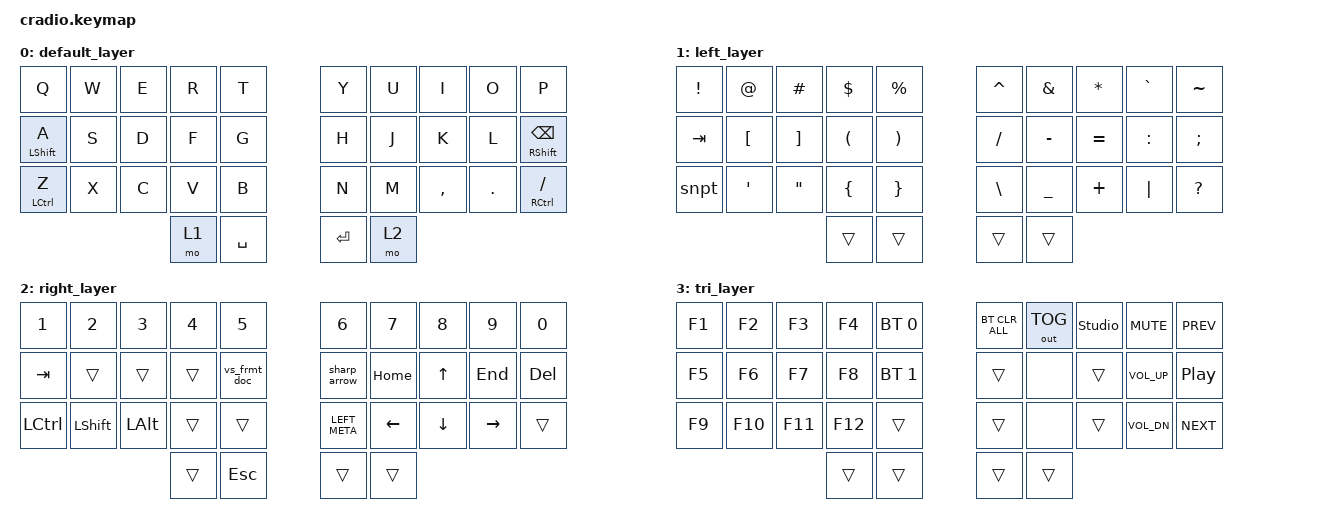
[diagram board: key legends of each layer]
// Copyright (c) 2022 The ZMK Contributors
// SPDX-License-Identifier: MIT

#define ZMK_MOUSE_DEFAULT_MOVE_VAL 2500  // 600
#define ZMK_MOUSE_DEFAULT_SCRL_VAL 20    // 10

#include <dt-bindings/zmk/mouse.h>
#include <behaviors.dtsi>
#include <dt-bindings/zmk/bt.h>
#include <dt-bindings/zmk/keys.h>
#include <dt-bindings/zmk/outputs.h>

#define MAC 0
#define WIN 1
#define RIG 2
#define LEF 3
#define TRI 4
#define MOUSE 5

/ {
    chosen { zmk,charmap = &charmap_us; };

    behaviors {
        ht: hold_tap {
            label = "hold_tap";
            compatible = "zmk,behavior-hold-tap";
            #binding-cells = <2>;
            flavor = "tap-preferred";
            tapping-term-ms = <220>;
            quick-tap-ms = <150>;
            global-quick-tap;
            bindings = <&kp>, <&kp>;
        };

        mmv {
            acceleration-exponent = <1>;      // 1
            time-to-max-speed-ms = <300>;    // 40
            delay-ms = <0>;                   // 0
        };

        msc {
            acceleration-exponent = <0>;      // 0
            time-to-max-speed-ms = <40>;      // 500
            delay-ms = <0>;                   // 10
        };
    };

    conditional_layers {
        compatible = "zmk,conditional-layers";

        tri_layer {
            if-layers = <2 1>;
            then-layer = <3>;
        };
    };

    combos { compatible = "zmk,combos"; };

    macros {
        sharp_arrow: sharp_arrow {
            compatible = "zmk,behavior-macro";
            #binding-cells = <0>;
            bindings = <&kp EQUAL &kp GT>;
            label = "SHARP_ARROW";
        };

        vs_frmt_doc: vs_frmt_doc {
            compatible = "zmk,behavior-macro";
            #binding-cells = <0>;
            bindings = <&kp LC(K) &kp LC(D)>;
            label = "VS_FRMT_DOC";
        };

        snpt: snpt {
            compatible = "zmk,behavior-macro";
            #binding-cells = <0>;
            bindings = <&kp LG(LS(S))>;
            label = "SNPT";
        };
    };

    keymap {
        compatible = "zmk,keymap";

        default_layer {
            bindings = <
&kp Q               &kp W  &kp E  &kp R  &kp T        &kp Y      &kp U  &kp I      &kp O    &kp P
&ht LEFT_SHIFT A    &kp S  &kp D  &kp F  &kp G        &kp H      &kp J  &kp K      &kp L    &ht RIGHT_SHIFT BACKSPACE
&ht LEFT_CONTROL Z  &kp X  &kp C  &kp V  &kp B        &kp N      &kp M  &kp COMMA  &kp DOT  &ht RIGHT_CONTROL SLASH
                                  &mo 1  &kp SPACE    &kp ENTER  &mo 2
            >;
        };

        left_layer {
            bindings = <
&kp EXCL  &kp AT            &kp HASH           &kp DLLR        &kp PRCNT                &kp CARET  &kp AMPS   &kp ASTRK  &kp GRAVE  &kp TILDE
&kp TAB   &kp LBKT          &kp RIGHT_BRACKET  &kp LPAR        &kp RIGHT_PARENTHESIS    &kp FSLH   &kp MINUS  &kp EQUAL  &kp COLON  &kp SEMI
&snpt     &kp SINGLE_QUOTE  &kp DOUBLE_QUOTES  &kp LEFT_BRACE  &kp RIGHT_BRACE          &kp BSLH   &kp UNDER  &kp PLUS   &kp PIPE   &kp QMARK
                                               &trans          &trans                   &trans     &trans
            >;
        };

        right_layer {
            bindings = <
&kp N1            &kp N2          &kp N3        &kp N4  &kp N5          &kp N6         &kp N7          &kp N8          &kp N9           &kp N0
&kp TAB           &trans          &trans        &trans  &vs_frmt_doc    &sharp_arrow   &kp HOME        &kp UP          &kp END          &kp DELETE
&kp LEFT_CONTROL  &kp LEFT_SHIFT  &kp LEFT_ALT  &trans  &trans          &kp LEFT_META  &kp LEFT_ARROW  &kp DOWN_ARROW  &kp RIGHT_ARROW  &trans
                                                &trans  &kp ESC         &trans         &trans
            >;
        };

        tri_layer {
            bindings = <
&kp F1  &kp F2   &kp F3   &kp F4   &bt BT_SEL 0    &bt BT_CLR_ALL  &out OUT_TOG  &studio_unlock  &kp C_MUTE    &kp C_PREV
&kp F5  &kp F6   &kp F7   &kp F8   &bt BT_SEL 1    &trans          &none         &trans          &kp C_VOL_UP  &kp C_PP
&kp F9  &kp F10  &kp F11  &kp F12  &trans          &trans          &none         &trans          &kp C_VOL_DN  &kp C_NEXT
                          &trans   &trans          &trans          &trans
            >;
        };
    };
};
